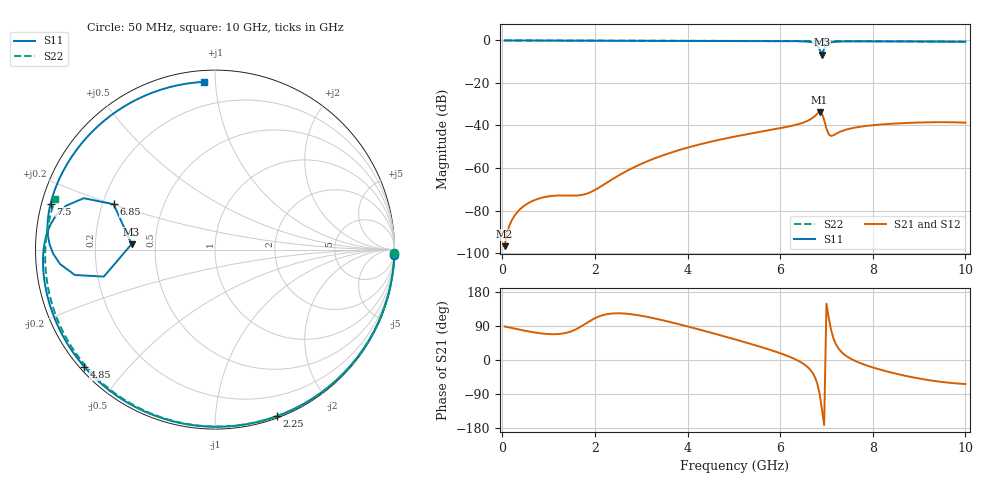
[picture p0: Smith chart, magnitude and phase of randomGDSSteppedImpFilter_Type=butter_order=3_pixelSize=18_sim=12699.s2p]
! freq	dB(S11)	phase(S11)	dB(S12)	phase(S12)
!  dB(S21)	phase(S21)	dB(S22)	phase(S22)
!S-par simulation data
#  GHz  S  DB  R 50
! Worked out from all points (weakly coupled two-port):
!   200 points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, 50 MHz to 10 GHz, reference 50 ohm
!   highest |S21| = -33.61 dB at 6.85 GHz (marker M1); lowest = -96.8 dB at 50 MHz (marker M2)
!   lowest |S11| = -6.6 dB at 6.9 GHz (marker M3), VSWR 2.74, Z = 18.2 + j1.42 ohm
!   |S11| at or under -10 dB: nowhere
!   |S22| runs from -0.6 to 0.0 dB; largest |S21 - S12| = 0
!   S11 on the Smith chart (normalised r, x): 50 MHz: 0, -70; 2.25 GHz: 0.02, -1.44; 4.85 GHz: 0.01, -0.38; 6.85 GHz: 0.25, +0.20; 7.5 GHz: 0.03, +0.14; 10 GHz: 0.06, +0.93
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0.05  -0.00 -1.6  -96.76 88.5  -96.76 88.5  -0.00 -1.2
0.35  -0.02 -11.3  -80.14 80.7  -80.14 80.7  -0.01 -8.1
0.6  -0.03 -19.3  -76.06 74.7  -76.06 74.7  -0.02 -13.9
0.9  -0.04 -28.8  -73.72 69.4  -73.72 69.4  -0.03 -20.8
1.75  -0.07 -54.9  -72.52 92.2  -72.52 92.2  -0.05 -39.9
2.25  -0.09 -69.6  -67.00 120.6  -67.00 120.6  -0.06 -50.8
2.8  -0.10 -85.1  -60.13 120.5  -60.13 120.5  -0.08 -62.5
3.4  -0.13 -101.3  -54.57 106.7  -54.57 106.7  -0.10 -74.9
4.85  -0.19 -138.1  -45.96 60.5  -45.96 60.5  -0.15 -103.2
5.05  -0.20 -143.0  -45.08 53.6  -45.08 53.6  -0.16 -107.0
6.1  -0.30 -169.6  -40.84 13.5  -40.84 13.5  -0.22 -126.2
6.7  -0.87 167.7  -36.45 -33.9  -36.45 -33.9  -0.26 -136.9
6.8  -2.10 158.6  -34.51 -61.5  -34.51 -61.5  -0.27 -138.7
6.85  -4.17 155.9  -33.61 -88.2  -33.61 -88.2  -0.27 -139.6
6.9  -6.64 176.2  -34.21 -128.2  -34.21 -128.2  -0.28 -140.5
6.95  -3.92 -166.3  -37.43 -171.9  -37.43 -171.9  -0.29 -141.3
7.05  -1.24 -174.7  -44.18 110.8  -44.18 110.8  -0.29 -143.0
7.1  -0.89 -178.6  -44.93 79.4  -44.93 79.4  -0.29 -143.9
7.5  -0.44 164.4  -41.52 5.1  -41.52 5.1  -0.32 -151.0
8.35  -0.45 140.5  -39.25 -31.6  -39.25 -31.6  -0.40 -166.2
9.2  -0.51 117.1  -38.50 -53.0  -38.50 -53.0  -0.50 178.0
10  -0.57 93.9  -38.68 -63.4  -38.68 -63.4  -0.60 162.3
